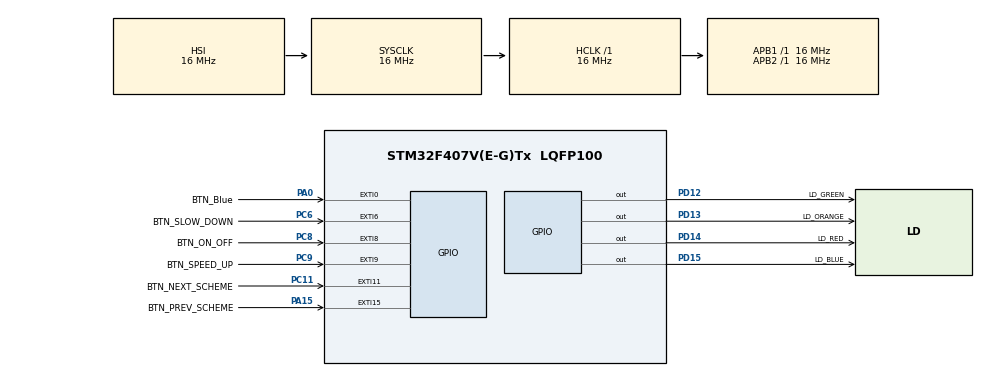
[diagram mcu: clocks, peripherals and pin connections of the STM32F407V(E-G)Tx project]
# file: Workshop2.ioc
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Mcu.Family=STM32F4
Mcu.Name=STM32F407V(E-G)Tx
Mcu.Package=LQFP100
NVIC.EXTI0_IRQn=true\:0\:0\:false\:false\:true\:true\:true\:true
NVIC.EXTI15_10_IRQn=true\:0\:0\:false\:false\:true\:true\:true\:true
NVIC.EXTI9_5_IRQn=true\:0\:0\:false\:false\:true\:true\:true\:true
NVIC.PriorityGroup=NVIC_PRIORITYGROUP_4
PA0-WKUP.GPIO_Label=BTN_Blue
PA0-WKUP.Signal=GPXTI0
PA15.GPIO_Label=BTN_PREV_SCHEME
PA15.GPIO_ModeDefaultEXTI=GPIO_MODE_IT_FALLING
PA15.GPIO_PuPd=GPIO_NOPULL
PA15.Signal=GPXTI15
PC11.GPIO_Label=BTN_NEXT_SCHEME
PC11.GPIO_ModeDefaultEXTI=GPIO_MODE_IT_RISING
PC11.GPIO_PuPd=GPIO_NOPULL
PC11.Signal=GPXTI11
PC6.GPIO_Label=BTN_SLOW_DOWN
PC6.GPIO_ModeDefaultEXTI=GPIO_MODE_IT_FALLING
PC6.GPIO_PuPd=GPIO_NOPULL
PC6.Signal=GPXTI6
PC8.GPIO_Label=BTN_ON_OFF
PC8.GPIO_ModeDefaultEXTI=GPIO_MODE_IT_FALLING
PC8.GPIO_PuPd=GPIO_NOPULL
PC8.Signal=GPXTI8
PC9.GPIO_Label=BTN_SPEED_UP
PC9.GPIO_ModeDefaultEXTI=GPIO_MODE_IT_RISING
PC9.GPIO_PuPd=GPIO_NOPULL
PC9.Signal=GPXTI9
PD12.GPIO_Label=LD_GREEN
PD12.Signal=GPIO_Output
PD13.GPIO_Label=LD_ORANGE
PD13.Signal=GPIO_Output
PD14.GPIO_Label=LD_RED
PD14.Signal=GPIO_Output
PD15.GPIO_Label=LD_BLUE
PD15.Signal=GPIO_Output
ProjectManager.HeapSize=0x200
ProjectManager.StackSize=0x400
ProjectManager.TargetToolchain=STM32CubeIDE
RCC.AHBFreq_Value=16000000
RCC.APB1Freq_Value=16000000
RCC.APB2Freq_Value=16000000
RCC.CortexFreq_Value=16000000
RCC.HSE_VALUE=25000000
RCC.HSI_VALUE=16000000
RCC.LSE_VALUE=32768
RCC.SYSCLKFreq_VALUE=16000000
RCC.VCOOutputFreq_Value=192000000
board=custom

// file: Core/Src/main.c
/* USER CODE BEGIN Header */
/**
  ******************************************************************************
  * @file           : main.c
  * @brief          : Main program body
  ******************************************************************************
  * @attention
  *
  * Copyright (c) 2026 STMicroelectronics.
  * All rights reserved.
  *
  * This software is licensed under terms that can be found in the LICENSE file
  * in the root directory of this software component.
  * If no LICENSE file comes with this software, it is provided AS-IS.
  *
  ******************************************************************************
  */
/* USER CODE END Header */
#include "main.h"

/* USER CODE BEGIN PV */
#define SCHEMES_COUNT 3

#define SPEED_MIN_MS 50
#define SPEED_MAX_MS 1000
#define SPEED_STEP_MS 50

volatile uint8_t current_scheme = 0;
volatile uint8_t blinking_enabled = 1;
volatile uint32_t blink_period_ms = 200;

uint32_t last_blink_time = 0;
uint8_t step = 0;
/* USER CODE END PV */

void SystemClock_Config(void);
static void MX_GPIO_Init(void);

/* USER CODE BEGIN 0 */
static void LEDs_All_Off(void)
{
    HAL_GPIO_WritePin(LD_GREEN_GPIO_Port,  LD_GREEN_Pin,  GPIO_PIN_RESET);
    HAL_GPIO_WritePin(LD_ORANGE_GPIO_Port, LD_ORANGE_Pin, GPIO_PIN_RESET);
    HAL_GPIO_WritePin(LD_RED_GPIO_Port,    LD_RED_Pin,    GPIO_PIN_RESET);
    HAL_GPIO_WritePin(LD_BLUE_GPIO_Port,   LD_BLUE_Pin,   GPIO_PIN_RESET);
}

static void LEDs_Set(uint8_t green, uint8_t orange, uint8_t red, uint8_t blue)
{
    HAL_GPIO_WritePin(LD_GREEN_GPIO_Port,  LD_GREEN_Pin,  green  ? GPIO_PIN_SET : GPIO_PIN_RESET);
    HAL_GPIO_WritePin(LD_ORANGE_GPIO_Port, LD_ORANGE_Pin, orange ? GPIO_PIN_SET : GPIO_PIN_RESET);
    HAL_GPIO_WritePin(LD_RED_GPIO_Port,    LD_RED_Pin,    red    ? GPIO_PIN_SET : GPIO_PIN_RESET);
    HAL_GPIO_WritePin(LD_BLUE_GPIO_Port,   LD_BLUE_Pin,   blue   ? GPIO_PIN_SET : GPIO_PIN_RESET);
}

static void Blink_Task(void)
{
    if (!blinking_enabled)
    {
        LEDs_All_Off();
        return;
    }

    uint32_t now = HAL_GetTick();

    if ((now - last_blink_time) < blink_period_ms)
    {
        return;
    }

    last_blink_time = now;

    switch (current_scheme)
    {
        case 0:
            HAL_GPIO_TogglePin(LD_GREEN_GPIO_Port,  LD_GREEN_Pin);
            HAL_GPIO_TogglePin(LD_ORANGE_GPIO_Port, LD_ORANGE_Pin);
            HAL_GPIO_TogglePin(LD_RED_GPIO_Port,    LD_RED_Pin);
            HAL_GPIO_TogglePin(LD_BLUE_GPIO_Port,   LD_BLUE_Pin);
            break;

        case 1:
            LEDs_All_Off();

            if (step == 0) HAL_GPIO_WritePin(LD_GREEN_GPIO_Port,  LD_GREEN_Pin,  GPIO_PIN_SET);
            if (step == 1) HAL_GPIO_WritePin(LD_ORANGE_GPIO_Port, LD_ORANGE_Pin, GPIO_PIN_SET);
            if (step == 2) HAL_GPIO_WritePin(LD_RED_GPIO_Port,    LD_RED_Pin,    GPIO_PIN_SET);
            if (step == 3) HAL_GPIO_WritePin(LD_BLUE_GPIO_Port,   LD_BLUE_Pin,   GPIO_PIN_SET);

            step = (step + 1) % 4;
            break;

        case 2:
            if (step == 0)
            {
                LEDs_Set(1, 0, 1, 0);
                step = 1;
            }
            else
            {
                LEDs_Set(0, 1, 0, 1);
                step = 0;
            }
            break;

        default:
            current_scheme = 0;
            break;
    }
}
/* USER CODE END 0 */

int main(void)
{

  /* MCU Configuration--------------------------------------------------------*/

  /* Reset of all peripherals, Initializes the Flash interface and the Systick. */
  HAL_Init();

  /* Configure the system clock */
  SystemClock_Config();

  /* Initialize all configured peripherals */
  MX_GPIO_Init();

  /* Infinite loop */
  /* USER CODE BEGIN WHILE */
  while (1)
  {
	  Blink_Task();
    /* USER CODE END WHILE */

  }
}

void SystemClock_Config(void)
{
  RCC_OscInitTypeDef RCC_OscInitStruct = {0};
  RCC_ClkInitTypeDef RCC_ClkInitStruct = {0};

  /** Configure the main internal regulator output voltage
  */
  __HAL_RCC_PWR_CLK_ENABLE();
  __HAL_PWR_VOLTAGESCALING_CONFIG(PWR_REGULATOR_VOLTAGE_SCALE1);

  /** Initializes the RCC Oscillators according to the specified parameters
  * in the RCC_OscInitTypeDef structure.
  */
  RCC_OscInitStruct.OscillatorType = RCC_OSCILLATORTYPE_HSI;
  RCC_OscInitStruct.HSIState = RCC_HSI_ON;
  RCC_OscInitStruct.HSICalibrationValue = RCC_HSICALIBRATION_DEFAULT;
  RCC_OscInitStruct.PLL.PLLState = RCC_PLL_NONE;
  if (HAL_RCC_OscConfig(&RCC_OscInitStruct) != HAL_OK)
  {
    Error_Handler();
  }

  /** Initializes the CPU, AHB and APB buses clocks
  */
  RCC_ClkInitStruct.ClockType = RCC_CLOCKTYPE_HCLK|RCC_CLOCKTYPE_SYSCLK
                              |RCC_CLOCKTYPE_PCLK1|RCC_CLOCKTYPE_PCLK2;
  RCC_ClkInitStruct.SYSCLKSource = RCC_SYSCLKSOURCE_HSI;
  RCC_ClkInitStruct.AHBCLKDivider = RCC_SYSCLK_DIV1;
  RCC_ClkInitStruct.APB1CLKDivider = RCC_HCLK_DIV1;
  RCC_ClkInitStruct.APB2CLKDivider = RCC_HCLK_DIV1;

  if (HAL_RCC_ClockConfig(&RCC_ClkInitStruct, FLASH_LATENCY_0) != HAL_OK)
  {
    Error_Handler();
  }
}

static void MX_GPIO_Init(void)
{
  GPIO_InitTypeDef GPIO_InitStruct = {0};

  /* GPIO Ports Clock Enable */
  __HAL_RCC_GPIOA_CLK_ENABLE();
  __HAL_RCC_GPIOD_CLK_ENABLE();
  __HAL_RCC_GPIOC_CLK_ENABLE();

  /*Configure GPIO pin Output Level */
  HAL_GPIO_WritePin(GPIOD, LD_GREEN_Pin|LD_ORANGE_Pin|LD_RED_Pin|LD_BLUE_Pin, GPIO_PIN_RESET);

  /*Configure GPIO pin : BTN_Blue_Pin */
  GPIO_InitStruct.Pin = BTN_Blue_Pin;
  GPIO_InitStruct.Mode = GPIO_MODE_IT_RISING;
  GPIO_InitStruct.Pull = GPIO_NOPULL;
  HAL_GPIO_Init(BTN_Blue_GPIO_Port, &GPIO_InitStruct);

  /*Configure GPIO pins : LD_GREEN_Pin LD_ORANGE_Pin LD_RED_Pin LD_BLUE_Pin */
  GPIO_InitStruct.Pin = LD_GREEN_Pin|LD_ORANGE_Pin|LD_RED_Pin|LD_BLUE_Pin;
  GPIO_InitStruct.Mode = GPIO_MODE_OUTPUT_PP;
  GPIO_InitStruct.Pull = GPIO_NOPULL;
  GPIO_InitStruct.Speed = GPIO_SPEED_FREQ_LOW;
  HAL_GPIO_Init(GPIOD, &GPIO_InitStruct);

  /*Configure GPIO pins : BTN_SLOW_DOWN_Pin BTN_ON_OFF_Pin */
  GPIO_InitStruct.Pin = BTN_SLOW_DOWN_Pin|BTN_ON_OFF_Pin|BTN_SPEED_UP_Pin|BTN_NEXT_SCHEME_Pin;
  GPIO_InitStruct.Mode = GPIO_MODE_IT_FALLING;
  GPIO_InitStruct.Pull = GPIO_PULLUP;
  HAL_GPIO_Init(GPIOC, &GPIO_InitStruct);

  /*Configure GPIO pin : BTN_PREV_SCHEME_Pin */
  GPIO_InitStruct.Pin = BTN_PREV_SCHEME_Pin;
  GPIO_InitStruct.Mode = GPIO_MODE_IT_FALLING;
  GPIO_InitStruct.Pull = GPIO_PULLUP;
  HAL_GPIO_Init(BTN_PREV_SCHEME_GPIO_Port, &GPIO_InitStruct);

  /* EXTI interrupt init*/
  HAL_NVIC_SetPriority(EXTI0_IRQn, 0, 0);
  HAL_NVIC_EnableIRQ(EXTI0_IRQn);

  HAL_NVIC_SetPriority(EXTI9_5_IRQn, 0, 0);
  HAL_NVIC_EnableIRQ(EXTI9_5_IRQn);

  HAL_NVIC_SetPriority(EXTI15_10_IRQn, 0, 0);
  HAL_NVIC_EnableIRQ(EXTI15_10_IRQn);

}

/* USER CODE BEGIN 4 */
void HAL_GPIO_EXTI_Callback(uint16_t GPIO_Pin)
{
    static uint32_t last_irq_tick[16] = {0};
    uint32_t now = HAL_GetTick();

    uint8_t pin_index = 0;
    while (((GPIO_Pin >> pin_index) & 1U) == 0U)
    {
        pin_index++;
    }

    if ((now - last_irq_tick[pin_index]) < 150)
    {
        return;
    }

    last_irq_tick[pin_index] = now;

    // SWT1 LEFT = previous scheme = PC11
    if (GPIO_Pin == GPIO_PIN_11)
    {
        current_scheme = (current_scheme + SCHEMES_COUNT - 1) % SCHEMES_COUNT; // Previous scheme in a circular sequence
        step = 0;
        LEDs_All_Off();
    }

    // SWT3 RIGHT = next scheme = PC9
    else if (GPIO_Pin == GPIO_PIN_9)
    {
        current_scheme = (current_scheme + 1) % SCHEMES_COUNT; // Same here but in other direction
        step = 0;
        LEDs_All_Off();
    }

    // SWT5 UP = speed up = PC8
    else if (GPIO_Pin == GPIO_PIN_8)
    {
        if (blink_period_ms > SPEED_MIN_MS)
        {
            blink_period_ms -= SPEED_STEP_MS;
        }
    }

    // SWT4 DOWN = slow down = PC6
    else if (GPIO_Pin == GPIO_PIN_6)
    {
        if (blink_period_ms < SPEED_MAX_MS)
        {
            blink_period_ms += SPEED_STEP_MS;
        }
    }

    // SWT2 CENTER = ON/OFF = PA15
    else if (GPIO_Pin == GPIO_PIN_15)
    {
        blinking_enabled ^= 1; // Denys, I used here xor cause its fast(depends on compiler) way to negate*

        if (!blinking_enabled)
        {
            LEDs_All_Off();
        }
    }
}
/* USER CODE END 4 */

void Error_Handler(void)
{
  __disable_irq();
  while (1)
  {
  }
}
